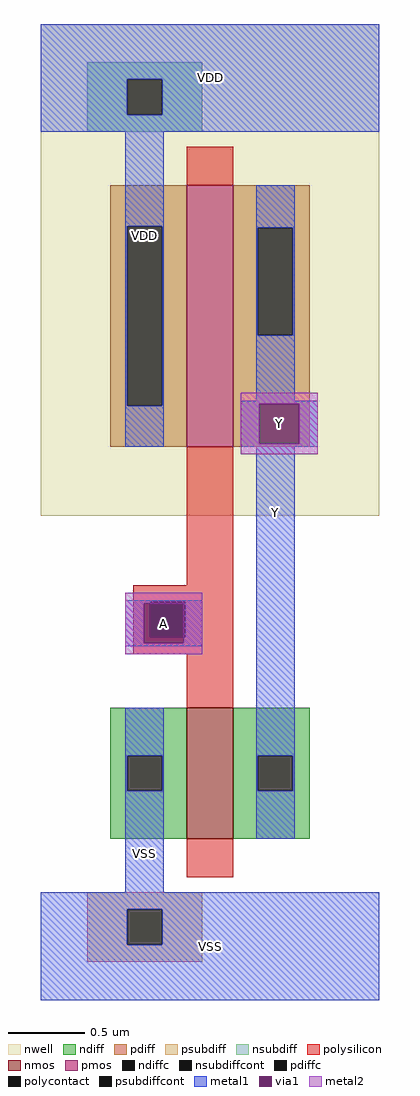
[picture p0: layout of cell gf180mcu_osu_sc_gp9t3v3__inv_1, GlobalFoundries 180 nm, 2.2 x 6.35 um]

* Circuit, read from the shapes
.subckt gf180mcu_osu_sc_gp9t3v3__inv_1 A Y VDD VSS
XM1 Y A VSS VSS nfet_03v3 w=0.85u l=0.3u
XM2 Y A VDD VDD pfet_03v3 w=1.7u l=0.3u
.ends

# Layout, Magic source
magic
tech gf180mcuA
magscale 1 10
<< nwell >>
rect 0 630 440 1270
<< nmos >>
rect 190 210 250 380
<< pmos >>
rect 190 720 250 1060
<< ndiff >>
rect 90 318 190 380
rect 90 272 112 318
rect 158 272 190 318
rect 90 210 190 272
rect 250 318 350 380
rect 250 272 282 318
rect 328 272 350 318
rect 250 210 350 272
<< pdiff >>
rect 90 1007 190 1060
rect 90 773 112 1007
rect 158 773 190 1007
rect 90 720 190 773
rect 250 1005 350 1060
rect 250 865 282 1005
rect 328 865 350 1005
rect 250 720 350 865
<< ndiffc >>
rect 112 272 158 318
rect 282 272 328 318
<< pdiffc >>
rect 112 773 158 1007
rect 282 865 328 1005
<< psubdiff >>
rect 60 118 210 140
rect 60 72 112 118
rect 158 72 210 118
rect 60 50 210 72
<< nsubdiff >>
rect 60 1198 210 1220
rect 60 1152 112 1198
rect 158 1152 210 1198
rect 60 1130 210 1152
<< psubdiffcont >>
rect 112 72 158 118
<< nsubdiffcont >>
rect 112 1152 158 1198
<< polysilicon >>
rect 190 1060 250 1110
rect 190 540 250 720
rect 120 518 250 540
rect 120 472 142 518
rect 188 472 250 518
rect 120 450 250 472
rect 190 380 250 450
rect 190 160 250 210
<< polycontact >>
rect 142 472 188 518
<< metal1 >>
rect 0 1198 440 1270
rect 0 1152 112 1198
rect 158 1152 440 1198
rect 0 1130 440 1152
rect 110 1007 160 1130
rect 110 773 112 1007
rect 158 773 160 1007
rect 280 1005 330 1060
rect 280 865 282 1005
rect 328 865 330 1005
rect 280 780 330 865
rect 110 720 160 773
rect 260 776 360 780
rect 260 724 284 776
rect 336 724 360 776
rect 260 720 360 724
rect 110 518 210 520
rect 110 516 142 518
rect 110 464 134 516
rect 188 472 210 518
rect 186 464 210 472
rect 110 460 210 464
rect 110 318 160 380
rect 110 272 112 318
rect 158 272 160 318
rect 110 140 160 272
rect 280 318 330 720
rect 280 272 282 318
rect 328 272 330 318
rect 280 210 330 272
rect 0 118 440 140
rect 0 72 112 118
rect 158 72 440 118
rect 0 0 440 72
<< via1 >>
rect 284 724 336 776
rect 134 472 142 516
rect 142 472 186 516
rect 134 464 186 472
<< metal2 >>
rect 260 776 360 790
rect 260 724 284 776
rect 336 724 360 776
rect 260 710 360 724
rect 110 516 210 530
rect 110 464 134 516
rect 186 464 210 516
rect 110 450 210 464
<< labels >>
rlabel via1 s 134 464 186 516 4 A
port 1 nsew signal input
rlabel via1 s 284 724 336 776 4 Y
port 2 nsew signal output
rlabel metal1 s 110 720 160 1270 4 VDD
port 3 nsew power bidirectional abutment
rlabel metal1 s 110 0 160 380 4 VSS
port 4 nsew ground bidirectional abutment
rlabel metal1 s 0 1130 440 1270 1 VDD
port 3 nsew power bidirectional abutment
rlabel metal1 s 0 0 440 140 1 VSS
port 4 nsew ground bidirectional abutment
rlabel metal2 s 110 450 210 530 1 A
port 1 nsew signal input
rlabel metal1 s 110 460 210 520 1 A
port 1 nsew signal input
rlabel metal2 s 260 710 360 790 1 Y
port 2 nsew signal output
rlabel metal1 s 280 210 330 1060 1 Y
port 2 nsew signal output
rlabel metal1 s 260 720 360 780 1 Y
port 2 nsew signal output
<< properties >>
string FIXED_BBOX 0 0 440 1270
string GDS_END 286762
string GDS_FILE $PDKPATH/libs.ref/gf180mcu_osu_sc_gp9t3v3/gds/gf180mcu_osu_sc_gp9t3v3.gds
string GDS_START 284170
string LEFclass CORE
string LEFsite gf180mcu_osu_sc_gp9t3v3
string LEFsymmetry X Y
<< end >>
